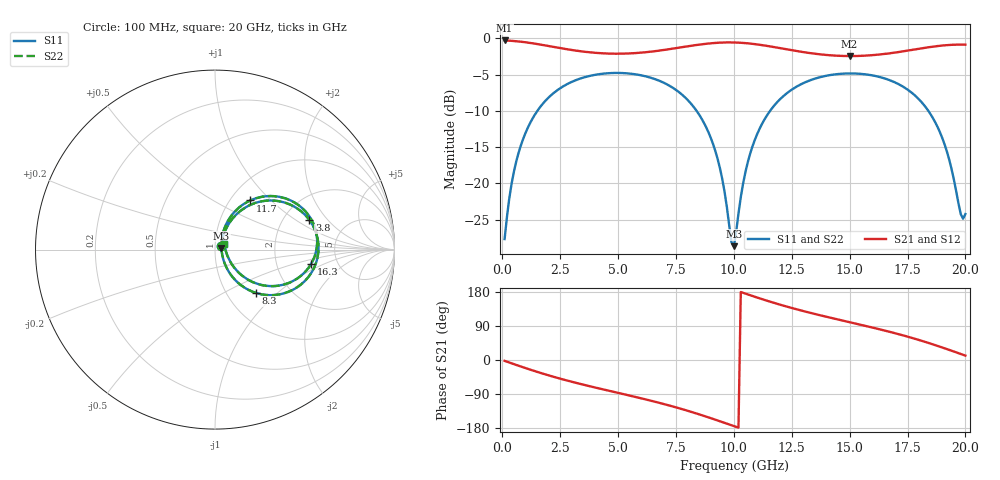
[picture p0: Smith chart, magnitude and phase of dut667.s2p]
! Touchstone file exported from HFSS 2026.1.0
!  File:  C:/ffzhzh/LocalFiles/Ansys_Project_Files/temp_train_TSV_RDL_667_1783131546_35180.aedt
!  Generated:  10:34:48 AM Jul  4, 2026
!  Design:  TSV_RDL
!  Project:  temp_train_TSV_RDL_667_1783131546_35180
! Variables:
!  h_bsmrdl = 3.58um
!  h_ox = 20um
!  h_rdl = 5um
!  h_sub = 82.5um
!  h_tmrdl = 5.29um
!  h_tsv = 82.5um
!  h_via = 3um
!  l_bsmrdl = 469.85um
!  l_sub = 5849.74um
!  l_tmrdl = 985.89um
!  m_sub = 200um
!  pitch = 39.58um
!  r_tsv = 5.02um
!  s_tmrdl = 10um
!  w_bsmrdl = 21.84um
!  w_sub = 500um
!  w_tmrdl = 10.37um
!  x_tsv_center1 = 991.075um
!  x_tsv_center2 = 1482.765um
!  x_tsv_center3 = 2479.025um
!  x_tsv_center4 = 2970.715um
!  x_tsv_center5 = 3966.975um
!  x_tsv_center6 = 4458.665um
# GHz S MA R 50.000000
! Terminal data exported
! Port[1] = TM_RDL1_1_T1
! Port[2] = TM_RDL5_1_T1
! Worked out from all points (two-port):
!   200 points, 100 MHz to 20 GHz, reference 50 ohm
!   highest |S21| = -0.30 dB at 100 MHz (marker M1); lowest = -2.5 dB at 15 GHz (marker M2)
!   |S21| within 3 dB of the highest: start of sweep to end of sweep
!   lowest |S11| = -28.7 dB at 10 GHz (marker M3), VSWR 1.08, Z = 53.7 + j0.987 ohm
!   |S11| at or under -10 dB: start of sweep to 1.517 GHz; 8.39 GHz to 11.57 GHz (3.178 GHz wide, 31.8 % of centre); 18.4 GHz to end of sweep
!   |S22| runs from -28.6 to -4.8 dB; largest |S21 - S12| = 2.4e-14
!   S11 on the Smith chart (normalised r, x): 100 MHz: 1.07, +0.05; 3.8 GHz: 2.77, +1.31; 8.3 GHz: 1.36, -0.73; 11.7 GHz: 1.23, +0.76; 16.3 GHz: 3.17, -0.72; 20 GHz: 1.11, +0.07
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0.1  0.04129 33.1  0.966 -2.2  0.966 -2.2  0.04129 33.1
! Gamma 0 0 0 0
! Port Impedance 50 0 50 0
0.5  0.12 61.6  0.9574 -10.9  0.9574 -10.9  0.12 61.6
1.1  0.2413 57.9  0.934 -23.3  0.934 -23.3  0.2413 57.9
2.1  0.4041 42.6  0.8785 -42.3  0.8785 -42.3  0.4041 42.6
3.5  0.5358 21.5  0.8095 -65.1  0.8095 -65.1  0.5358 21.5
3.8  0.5514 17.3  0.7997 -69.6  0.7997 -69.6  0.5514 17.3
5.3  0.5745 -3.0  0.7843 -91.0  0.7843 -91.0  0.5745 -3.0
6.8  0.508 -23.8  0.8229 -113.4  0.8229 -113.4  0.508 -23.8
8.3  0.3309 -46.7  0.8948 -139.5  0.8948 -139.5  0.3309 -46.7
9.3  0.1472 -58.1  0.9312 -159.6  0.9312 -159.6  0.1473 -58.0
10  0.03688 14.4  0.9358 -174.3  0.9358 -174.3  0.03706 14.3
10.1  0.04619 39.8  0.9347 -176.4  0.9347 -176.4  0.04633 39.6
10.7  0.1593 66.2  0.9197 171.0  0.9197 171.0  0.1593 66.1
11.7  0.3371 54.3  0.8717 151.4  0.8717 151.4  0.3372 54.3
13.4  0.5205 29.5  0.7861 122.9  0.7861 122.9  0.5205 29.4
15  0.5723 8.4  0.7542 99.8  0.7542 99.8  0.5723 8.3
16.3  0.5407 -8.6  0.7732 81.0  0.7732 81.0  0.5407 -8.6
16.7  0.5164 -14.0  0.7867 74.9  0.7867 74.9  0.5164 -14.1
18.6  0.2812 -40.4  0.8758 41.2  0.8758 41.2  0.2811 -40.6
19.2  0.1659 -43.8  0.897 28.8  0.897 28.8  0.1657 -44.0
19.8  0.06135 -7.8  0.9046 15.9  0.9046 15.9  0.06067 -8.1
20  0.06142 31.6  0.9035 11.6  0.9035 11.6  0.06071 31.8
